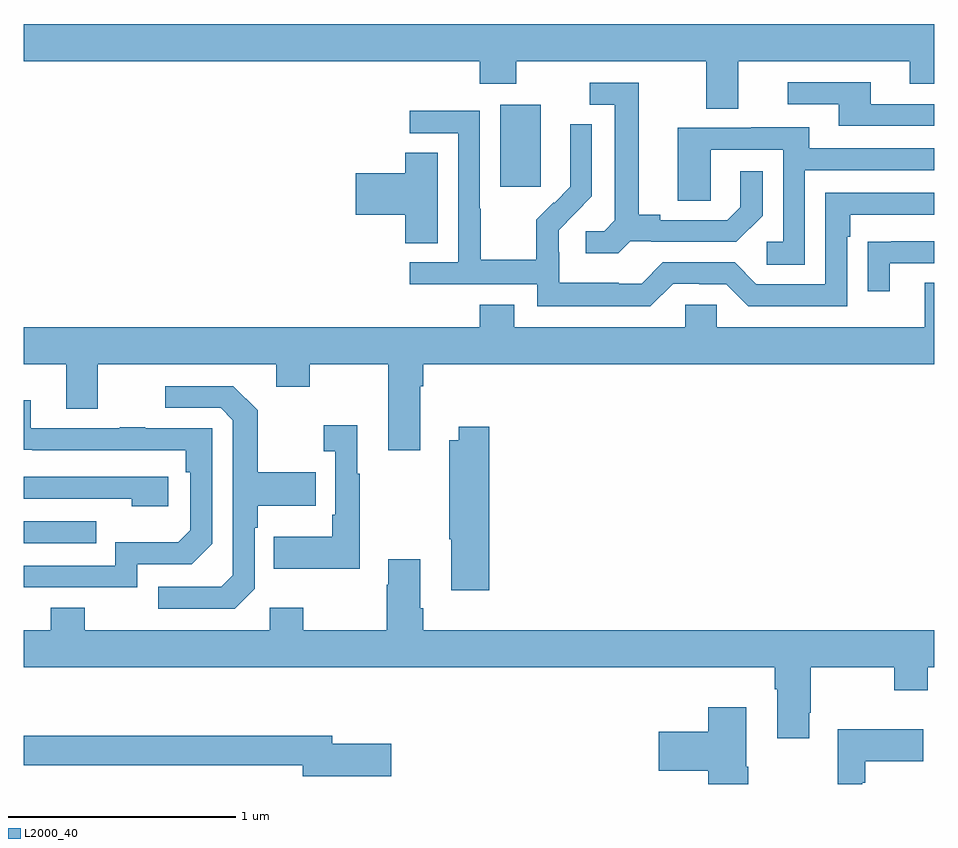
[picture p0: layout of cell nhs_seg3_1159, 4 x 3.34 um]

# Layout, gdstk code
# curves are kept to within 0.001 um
import gdstk
lib = gdstk.Library(unit=1e-6, precision=1e-09)
def R(c, l, rs):  # rectangles x0, y0, x1, y1
    for r in rs: c.add(gdstk.rectangle(r[:2], r[2:], *l))
def P(c, l, *ps):  # polygons
    for p in ps: c.add(gdstk.Polygon(p, *l))
L2000_40 = (2000, 40)

nhs_seg3_1159 = lib.new_cell('nhs_seg3_1159')
R(nhs_seg3_1159, L2000_40, [(171,705.459,171.317,705.555), (173.093,707.025,173.272,707.386)])
P(nhs_seg3_1159, L2000_40, [(174.139,707.576),(174.893,707.576),(174.893,707.477),(175,707.477),(175,707.74),(171,707.74),(171,707.576),(173.003,707.576),(173.003,707.477),(173.163,707.477),(173.163,707.576),(173.999,707.576),(173.999,707.368),(174.139,707.368)],
  [(175,707.388),(174.721,707.388),(174.721,707.484),(174.357,707.484),(174.357,707.388),(174.581,707.388),(174.581,707.292),(175,707.292)],
  [(173.664,706.785),(173.758,706.785),(173.758,706.782),(174.13,706.782),(174.246,706.898),(174.246,707.092),(174.149,707.092),(174.149,706.935),(174.092,706.878),(173.797,706.878),(173.797,706.901),(173.701,706.901),(173.701,707.481),(173.487,707.481),(173.487,707.385),(173.597,707.385),(173.597,706.877),(173.55,706.83),(173.469,706.83),(173.469,706.733),(173.612,706.733)],
  [(173.853,706.599),(173.969,706.599),(173.969,706.596),(174.087,706.596),(174.183,706.5),(174.618,706.5),(174.618,706.805),(174.631,706.805),(174.631,706.902),(175,706.902),(175,706.998),(174.522,706.998),(174.522,706.596),(174.219,706.596),(174.123,706.692),(173.808,706.692),(173.715,706.599),(173.615,706.599),(173.615,706.603),(173.352,706.603),(173.352,706.737),(173.35,706.737),(173.35,706.834),(173.496,706.982),(173.496,707.3),(173.4,707.3),(173.4,707.146),(173.402,707.146),(173.402,707.024),(173.331,706.953),(173.328,706.956),(173.251,706.879),(173.251,706.705),(173.007,706.705),(173.007,706.928),(173.004,706.928),(173.004,707.358),(172.695,707.358),(172.695,707.259),(172.908,707.259),(172.908,706.692),(172.695,706.692),(172.695,706.596),(173.256,706.596),(173.256,706.499),(173.753,706.499)],
  [(174.432,707.097),(175,707.097),(175,707.193),(174.451,707.193),(174.451,707.287),(174.197,707.287),(174.197,707.283),(173.873,707.283),(173.873,706.963),(174.018,706.963),(174.018,707.187),(174.336,707.187),(174.336,706.782),(174.264,706.782),(174.264,706.681),(174.432,706.681)],
  [(172.819,707.174),(172.676,707.174),(172.676,707.084),(172.458,707.084),(172.458,706.901),(172.676,706.901),(172.676,706.777),(172.819,706.777)],
  [(174.805,706.689),(175,706.689),(175,706.785),(174.811,706.785),(174.811,706.784),(174.709,706.784),(174.709,706.566),(174.805,706.566)],
  [(172.741,706.148),(172.754,706.148),(172.754,706.244),(175,706.244),(175,706.603),(174.959,706.603),(174.959,706.408),(174.045,706.408),(174.045,706.506),(173.907,706.506),(173.907,706.408),(173.155,706.408),(173.155,706.507),(173.003,706.507),(173.003,706.408),(171,706.408),(171,706.244),(171.185,706.244),(171.185,706.05),(171.325,706.05),(171.325,706.244),(172.109,706.244),(172.109,706.145),(172.257,706.145),(172.257,706.244),(172.601,706.244),(172.601,705.867),(172.741,705.867)],
  [(172.014,705.258),(172.014,705.527),(172.027,705.527),(172.027,705.623),(172.283,705.623),(172.283,705.771),(172.027,705.771),(172.027,706.043),(171.921,706.149),(171.621,706.149),(171.621,706.053),(171.864,706.053),(171.918,705.999),(171.918,705.318),(171.867,705.267),(171.591,705.267),(171.591,705.171),(171.927,705.171)],
  [(171.498,705.366),(171.738,705.366),(171.828,705.456),(171.828,705.963),(171.533,705.963),(171.533,705.968),(171.421,705.968),(171.421,705.963),(171.031,705.963),(171.031,706.087),(171,706.087),(171,705.868),(171.712,705.867),(171.712,705.77),(171.732,705.77),(171.732,705.516),(171.679,705.463),(171.402,705.463),(171.402,705.36),(171,705.36),(171,705.264),(171.498,705.264)],
  [(172.477,705.763),(172.465,705.763),(172.465,705.976),(172.317,705.976),(172.317,705.863),(172.368,705.863),(172.368,705.583),(172.356,705.583),(172.356,705.487),(172.099,705.487),(172.099,705.347),(172.477,705.347)],
  [(173.045,705.97),(172.91,705.97),(172.91,705.91),(172.87,705.91),(172.87,705.475),(172.877,705.475),(172.877,705.252),(173.045,705.252)],
  [(171.634,705.75),(171,705.75),(171,705.654),(171.473,705.654),(171.473,705.62),(171.634,705.62)],
  [(174.451,704.713),(174.459,704.713),(174.459,704.912),(174.826,704.912),(174.826,704.813),(174.972,704.813),(174.972,704.912),(175,704.912),(175,705.076),(172.754,705.076),(172.754,705.172),(172.741,705.172),(172.741,705.388),(172.601,705.388),(172.601,705.275),(172.594,705.275),(172.594,705.076),(172.227,705.076),(172.227,705.175),(172.08,705.175),(172.08,705.076),(171.267,705.076),(171.267,705.175),(171.119,705.175),(171.119,705.076),(171,705.076),(171,704.912),(174.299,704.912),(174.299,704.816),(174.311,704.816),(174.311,704.601),(174.451,704.601)],
  [(174.183,704.475),(174.175,704.475),(174.175,704.737),(174.008,704.737),(174.008,704.629),(173.79,704.629),(173.79,704.459),(174.008,704.459),(174.008,704.4),(174.183,704.4)],
  [(174.684,704.405),(174.697,704.405),(174.697,704.501),(174.953,704.501),(174.953,704.641),(174.576,704.641),(174.576,704.4),(174.684,704.4)],
  [(172.615,704.577),(172.354,704.577),(172.354,704.611),(171,704.611),(171,704.482),(172.226,704.482),(172.226,704.435),(172.615,704.435)])

lib.write_gds('nhs_seg3_1159.gds')
